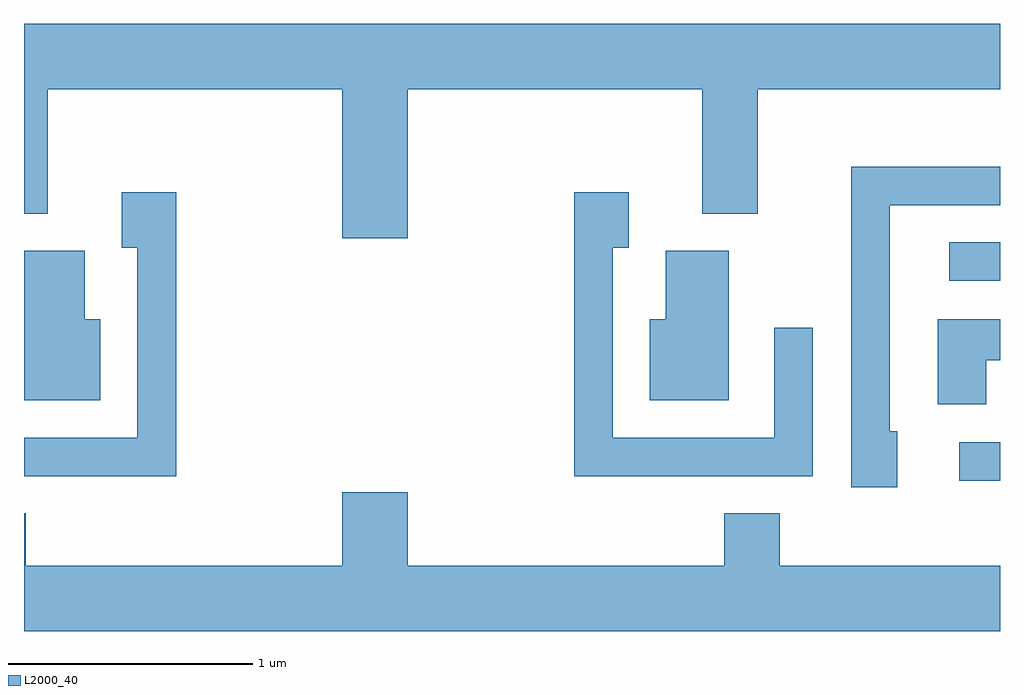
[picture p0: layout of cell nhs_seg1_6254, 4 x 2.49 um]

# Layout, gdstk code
import gdstk
lib = gdstk.Library(unit=1e-6, precision=1e-09)
def R(c, l, rs):  # rectangles x0, y0, x1, y1
    for r in rs: c.add(gdstk.rectangle(r[:2], r[2:], *l))
def P(c, l, *ps):  # polygons
    for p in ps: c.add(gdstk.Polygon(p, *l))
L2000_40 = (2000, 40)

nhs_seg1_6254 = lib.new_cell('nhs_seg1_6254')
R(nhs_seg1_6254, L2000_40, [(377.443,909.071,377.611,909.229), (377.403,909.891,377.611,910.049)])
P(nhs_seg1_6254, L2000_40, [(375.184,910.676),(376.391,910.676),(376.391,910.166),(376.619,910.166),(376.619,910.676),(377.611,910.676),(377.611,910.944),(373.611,910.944),(373.611,910.166),(373.709,910.166),(373.709,910.676),(374.916,910.676),(374.916,910.066),(375.184,910.066)],
  [(377.189,909.274),(377.159,909.274),(377.159,910.201),(377.611,910.201),(377.611,910.359),(377.001,910.359),(377.001,909.046),(377.189,909.046)],
  [(374.234,910.254),(374.011,910.254),(374.011,910.026),(374.076,910.026),(374.076,909.249),(373.611,909.249),(373.611,909.091),(374.234,909.091)],
  [(376.844,909.698),(376.686,909.698),(376.686,909.249),(376.024,909.249),(376.024,910.026),(376.089,910.026),(376.089,910.254),(375.866,910.254),(375.866,909.091),(376.844,909.091)],
  [(373.924,909.734),(373.859,909.734),(373.859,910.014),(373.611,910.014),(373.611,909.401),(373.924,909.401)],
  [(376.499,910.014),(376.241,910.014),(376.241,909.734),(376.176,909.734),(376.176,909.401),(376.499,909.401)],
  [(377.554,909.566),(377.611,909.566),(377.611,909.734),(377.356,909.734),(377.356,909.386),(377.554,909.386)],
  [(377.611,908.724),(376.709,908.724),(376.709,908.939),(376.481,908.939),(376.481,908.724),(375.184,908.724),(375.184,909.024),(374.916,909.024),(374.916,908.724),(373.619,908.724),(373.619,908.939),(373.611,908.939),(373.611,908.456),(377.611,908.456)])

lib.write_gds('nhs_seg1_6254.gds')
